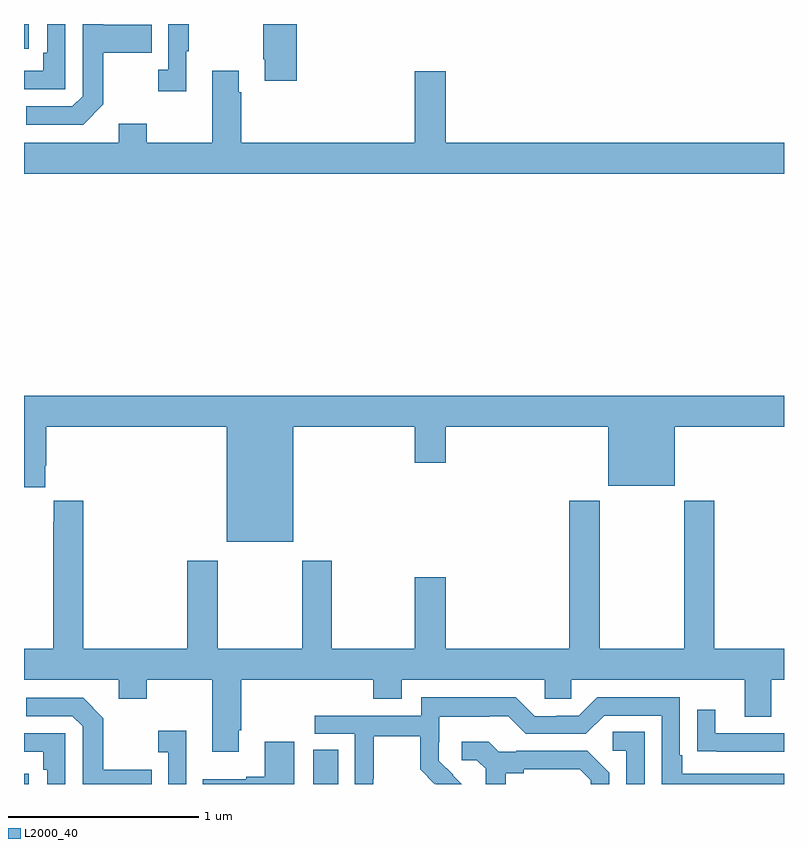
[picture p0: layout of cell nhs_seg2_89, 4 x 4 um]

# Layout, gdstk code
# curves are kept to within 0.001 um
import gdstk
lib = gdstk.Library(unit=1e-6, precision=1e-09)
def R(c, l, rs):  # rectangles x0, y0, x1, y1
    for r in rs: c.add(gdstk.rectangle(r[:2], r[2:], *l))
def P(c, l, *ps):  # polygons
    for p in ps: c.add(gdstk.Polygon(p, *l))
L2000_40 = (2000, 40)

nhs_seg2_89 = lib.new_cell('nhs_seg2_89')
R(nhs_seg2_89, L2000_40, [(115,601.8,115.024,601.854), (116.522,601.8,116.653,601.979), (115,605.67,115.024,605.8)])
P(nhs_seg2_89, L2000_40, [(116.435,605.8),(116.26,605.8),(116.26,605.614),(116.267,605.614),(116.267,605.502),(116.435,605.502)],
  [(115.218,605.8),(115.122,605.8),(115.122,605.65),(115.102,605.65),(115.102,605.553),(115,605.553),(115,605.457),(115.218,605.457)],
  [(115.855,605.657),(115.867,605.657),(115.867,605.8),(115.758,605.8),(115.758,605.558),(115.707,605.558),(115.707,605.445),(115.855,605.445)],
  [(115.417,605.377),(115.417,605.65),(115.673,605.65),(115.673,605.797),(115.417,605.797),(115.417,605.8),(115.308,605.8),(115.308,605.421),(115.254,605.367),(115.011,605.367),(115.011,605.271),(115.311,605.271)],
  [(119,605.176),(117.22,605.176),(117.22,605.551),(117.056,605.551),(117.056,605.176),(116.144,605.176),(116.144,605.441),(116.131,605.441),(116.131,605.554),(115.991,605.554),(115.991,605.176),(115.647,605.176),(115.647,605.275),(115.499,605.275),(115.499,605.176),(115,605.176),(115,605.012),(119,605.012)],
  [(116.416,603.68),(117.056,603.68),(117.056,603.492),(117.22,603.492),(117.22,603.68),(118.076,603.68),(118.076,603.371),(118.426,603.371),(118.426,603.68),(119,603.68),(119,603.844),(115,603.844),(115,603.363),(115.111,603.363),(115.111,603.475),(115.118,603.475),(115.118,603.68),(116.066,603.68),(116.066,603.074),(116.416,603.074)],
  [(116.131,602.083),(116.144,602.083),(116.144,602.348),(116.837,602.348),(116.837,602.249),(116.989,602.249),(116.989,602.348),(117.741,602.348),(117.741,602.25),(117.879,602.25),(117.879,602.348),(118.793,602.348),(118.793,602.154),(118.933,602.154),(118.933,602.348),(119,602.348),(119,602.512),(118.634,602.512),(118.634,603.292),(118.474,603.292),(118.474,602.512),(118.029,602.512),(118.029,603.292),(117.869,603.292),(117.869,602.512),(117.22,602.512),(117.22,602.887),(117.056,602.887),(117.056,602.512),(116.619,602.512),(116.619,602.974),(116.464,602.974),(116.464,602.512),(116.019,602.512),(116.019,602.974),(115.859,602.974),(115.859,602.512),(115.313,602.512),(115.313,603.292),(115.157,603.292),(115.157,603.179),(115.153,603.179),(115.153,602.512),(115,602.512),(115,602.348),(115.499,602.348),(115.499,602.249),(115.647,602.249),(115.647,602.348),(115.991,602.348),(115.991,601.971),(116.131,601.971)],
  [(116.838,601.828),(116.841,601.828),(116.841,602.052),(117.085,602.052),(117.085,601.877),(117.162,601.8),(117.165,601.803),(117.168,601.8),(117.304,601.8),(117.184,601.922),(117.184,602.019),(117.186,602.019),(117.186,602.153),(117.449,602.153),(117.449,602.157),(117.549,602.157),(117.642,602.064),(117.957,602.064),(118.053,602.16),(118.356,602.16),(118.356,601.8),(119,601.8),(119,601.854),(118.465,601.854),(118.465,601.951),(118.452,601.951),(118.452,602.256),(118.017,602.256),(117.921,602.16),(117.803,602.16),(117.803,602.157),(117.687,602.157),(117.587,602.257),(117.09,602.257),(117.09,602.16),(116.529,602.16),(116.529,602.064),(116.742,602.064),(116.742,601.8),(116.838,601.8)],
  [(115.673,601.875),(115.417,601.875),(115.417,602.147),(115.311,602.253),(115.011,602.253),(115.011,602.157),(115.254,602.157),(115.308,602.103),(115.308,601.8),(115.673,601.8)],
  [(119,602.067),(118.639,602.067),(118.639,602.191),(118.543,602.191),(118.543,601.972),(118.645,601.972),(118.645,601.971),(119,601.971)],
  [(115.854,602.08),(115.707,602.08),(115.707,601.967),(115.758,601.967),(115.758,601.8),(115.854,601.8)],
  [(118.266,602.075),(118.098,602.075),(118.098,601.974),(118.17,601.974),(118.17,601.8),(118.266,601.8)],
  [(115.218,602.067),(115,602.067),(115,601.971),(115.102,601.971),(115.102,601.874),(115.122,601.874),(115.122,601.8),(115.218,601.8)],
  [(117.535,601.856),(117.631,601.856),(117.631,601.878),(117.926,601.878),(117.983,601.821),(117.983,601.8),(118.08,601.8),(118.08,601.858),(117.964,601.974),(117.592,601.974),(117.592,601.971),(117.498,601.971),(117.446,602.023),(117.303,602.023),(117.303,601.926),(117.384,601.926),(117.431,601.879),(117.431,601.8),(117.535,601.8)],
  [(116.422,602.023),(116.267,602.023),(116.267,601.838),(116.171,601.838),(116.171,601.825),(115.941,601.825),(115.941,601.8),(116.422,601.8)])

lib.write_gds('nhs_seg2_89.gds')
